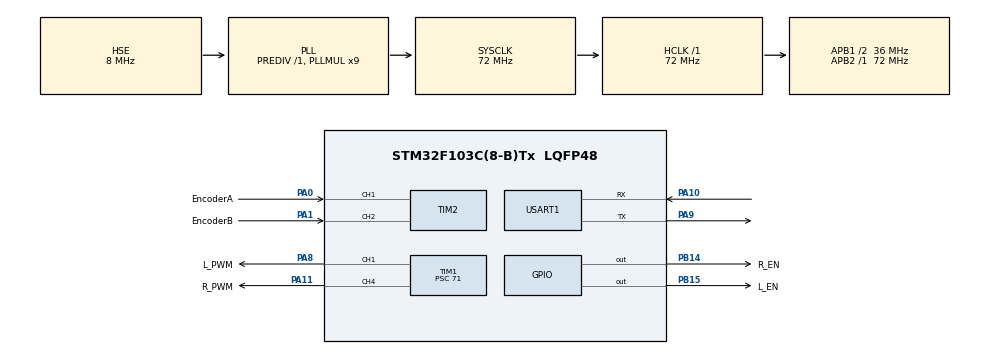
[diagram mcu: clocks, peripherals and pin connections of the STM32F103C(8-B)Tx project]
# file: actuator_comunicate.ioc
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Mcu.Family=STM32F1
Mcu.Name=STM32F103C(8-B)Tx
Mcu.Package=LQFP48
NVIC.PriorityGroup=NVIC_PRIORITYGROUP_4
NVIC.TIM3_IRQn=true\:0\:0\:false\:false\:true\:true\:true\:true
NVIC.TIM4_IRQn=true\:0\:0\:false\:false\:true\:true\:true\:true
PA0-WKUP.GPIO_Label=EncoderA
PA0-WKUP.Signal=S_TIM2_CH1_ETR
PA1.GPIO_Label=EncoderB
PA1.Signal=S_TIM2_CH2
PA10.Mode=Asynchronous
PA10.Signal=USART1_RX
PA11.GPIO_Label=R_PWM
PA11.Signal=S_TIM1_CH4
PA8.GPIO_Label=L_PWM
PA8.Signal=S_TIM1_CH1
PA9.Mode=Asynchronous
PA9.Signal=USART1_TX
PB14.GPIO_Label=R_EN
PB14.PinState=GPIO_PIN_SET
PB14.Signal=GPIO_Output
PB15.GPIO_Label=L_EN
PB15.PinState=GPIO_PIN_SET
PB15.Signal=GPIO_Output
PD0-OSC_IN.Mode=HSE-External-Oscillator
PD0-OSC_IN.Signal=RCC_OSC_IN
PD1-OSC_OUT.Mode=HSE-External-Oscillator
PD1-OSC_OUT.Signal=RCC_OSC_OUT
ProjectManager.HeapSize=0x200
ProjectManager.StackSize=0x400
ProjectManager.TargetToolchain=STM32CubeIDE
RCC.AHBFreq_Value=72000000
RCC.APB1CLKDivider=RCC_HCLK_DIV2
RCC.APB1Freq_Value=36000000
RCC.APB1TimFreq_Value=72000000
RCC.APB2Freq_Value=72000000
RCC.APB2TimFreq_Value=72000000
RCC.HCLKFreq_Value=72000000
RCC.PLLMUL=RCC_PLL_MUL9
RCC.PLLSourceVirtual=RCC_PLLSOURCE_HSE
RCC.SYSCLKFreq_VALUE=72000000
RCC.SYSCLKSource=RCC_SYSCLKSOURCE_PLLCLK
RCC.USBFreq_Value=72000000
SH.S_TIM1_CH1.0=TIM1_CH1,PWM Generation1 CH1
SH.S_TIM1_CH4.0=TIM1_CH4,PWM Generation4 CH4
SH.S_TIM2_CH1_ETR.0=TIM2_CH1,Encoder_Interface
SH.S_TIM2_CH2.0=TIM2_CH2,Encoder_Interface
TIM1.Channel-PWM\ Generation1\ CH1=TIM_CHANNEL_1
TIM1.Channel-PWM\ Generation4\ CH4=TIM_CHANNEL_4
TIM1.Period=99
TIM1.Prescaler=71
TIM1.Pulse-PWM\ Generation1\ CH1=50
TIM1.Pulse-PWM\ Generation4\ CH4=50
TIM2.CounterMode=TIM_COUNTERMODE_UP
TIM2.EncoderMode=TIM_ENCODERMODE_TI12
TIM3.Period=999
TIM3.Prescaler=7199
TIM4.Period=19999
TIM4.Prescaler=7199
USART1.VirtualMode=VM_ASYNC
VP_SYS_VS_ND.Mode=No_Debug
VP_TIM1_VS_ClockSourceINT.Mode=Internal
VP_TIM3_VS_ClockSourceINT.Mode=Internal
VP_TIM4_VS_ClockSourceINT.Mode=Internal
board=custom

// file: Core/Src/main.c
/* USER CODE BEGIN Header */
/**
  ******************************************************************************
  * @file           : main.c
  * @brief          : Main program body
  ******************************************************************************
  * @attention
  *
  * Copyright (c) 2024 STMicroelectronics.
  * All rights reserved.
  *
  * This software is licensed under terms that can be found in the LICENSE file
  * in the root directory of this software component.
  * If no LICENSE file comes with this software, it is provided AS-IS.
  *
  ******************************************************************************
  */
/* USER CODE END Header */
#include "main.h"

/* USER CODE BEGIN Includes */
#include "string.h"
#include "stdio.h"
/* USER CODE END Includes */

/* USER CODE BEGIN PD */
#define PULSE_PER_ROUND 10582
#define TIME_SAMPLE 0.1
/* USER CODE END PD */

TIM_HandleTypeDef htim1;
TIM_HandleTypeDef htim2;
TIM_HandleTypeDef htim3;
TIM_HandleTypeDef htim4;

UART_HandleTypeDef huart1;

/* USER CODE BEGIN PV */
const float Kp = 1.5;
const float Ki = 0.5;
const float Kd = 0.05;
const int target_RPM[] = {0, 10, 20, 30, 40};
static int current_RPM = 0;
static int sum_error = 0;
static int old_error = 0;
static int state_RPM = 1;
char text_data[20];
/* USER CODE END PV */

void SystemClock_Config(void);
static void MX_GPIO_Init(void);
static void MX_TIM1_Init(void);
static void MX_TIM2_Init(void);
static void MX_USART1_UART_Init(void);
static void MX_TIM3_Init(void);
static void MX_TIM4_Init(void);

/* USER CODE BEGIN 0 */
void HAL_TIM_PeriodElapsedCallback(TIM_HandleTypeDef *htim)
{
	 if(htim->Instance == htim3.Instance)
	 {
		 uint16_t encoder_data = __HAL_TIM_GET_COUNTER(&htim2);
		 __HAL_TIM_SET_COUNTER(&htim2, 0);
		 current_RPM = (int)encoder_data*600/ PULSE_PER_ROUND;
		sprintf(text_data, "\n\rRPM: %d", current_RPM);
		HAL_UART_Transmit(&huart1, (uint8_t*)text_data, sizeof(text_data), 100);
		int error = target_RPM[state_RPM] - current_RPM;
		float Pout = Kp * error;
		float Dout = Kd * (error - old_error) / TIME_SAMPLE;
		sum_error+=error;
		float Iout = Ki * sum_error * TIME_SAMPLE;
		__HAL_TIM_SET_COMPARE(&htim1, TIM_CHANNEL_4, (int)(Pout + Dout + Iout));
		old_error = error;
	  }
	 if(htim->Instance == htim4.Instance)
	 {
		 state_RPM+=1;
		 if(state_RPM == 5)
		 {
		 	state_RPM = 0;
		 }
	 }
}
/* USER CODE END 0 */

int main(void)
{

  /* MCU Configuration--------------------------------------------------------*/

  /* Reset of all peripherals, Initializes the Flash interface and the Systick. */
  HAL_Init();

  /* Configure the system clock */
  SystemClock_Config();

  /* Initialize all configured peripherals */
  MX_GPIO_Init();
  MX_TIM1_Init();
  MX_TIM2_Init();
  MX_USART1_UART_Init();
  MX_TIM3_Init();
  MX_TIM4_Init();
  /* USER CODE BEGIN 2 */
//  char text_data[20];
  HAL_TIM_Encoder_Start(&htim2, TIM_CHANNEL_ALL);
  HAL_TIM_PWM_Start(&htim1, TIM_CHANNEL_4);
  HAL_TIM_Base_Start_IT(&htim3);
  HAL_TIM_Base_Start_IT(&htim4);
  /* USER CODE END 2 */

  /* Infinite loop */
  while (1)
  {

  }
}

void SystemClock_Config(void)
{
  RCC_OscInitTypeDef RCC_OscInitStruct = {0};
  RCC_ClkInitTypeDef RCC_ClkInitStruct = {0};

  /** Initializes the RCC Oscillators according to the specified parameters
  * in the RCC_OscInitTypeDef structure.
  */
  RCC_OscInitStruct.OscillatorType = RCC_OSCILLATORTYPE_HSE;
  RCC_OscInitStruct.HSEState = RCC_HSE_ON;
  RCC_OscInitStruct.HSEPredivValue = RCC_HSE_PREDIV_DIV1;
  RCC_OscInitStruct.HSIState = RCC_HSI_ON;
  RCC_OscInitStruct.PLL.PLLState = RCC_PLL_ON;
  RCC_OscInitStruct.PLL.PLLSource = RCC_PLLSOURCE_HSE;
  RCC_OscInitStruct.PLL.PLLMUL = RCC_PLL_MUL9;
  if (HAL_RCC_OscConfig(&RCC_OscInitStruct) != HAL_OK)
  {
    Error_Handler();
  }

  /** Initializes the CPU, AHB and APB buses clocks
  */
  RCC_ClkInitStruct.ClockType = RCC_CLOCKTYPE_HCLK|RCC_CLOCKTYPE_SYSCLK
                              |RCC_CLOCKTYPE_PCLK1|RCC_CLOCKTYPE_PCLK2;
  RCC_ClkInitStruct.SYSCLKSource = RCC_SYSCLKSOURCE_PLLCLK;
  RCC_ClkInitStruct.AHBCLKDivider = RCC_SYSCLK_DIV1;
  RCC_ClkInitStruct.APB1CLKDivider = RCC_HCLK_DIV2;
  RCC_ClkInitStruct.APB2CLKDivider = RCC_HCLK_DIV1;

  if (HAL_RCC_ClockConfig(&RCC_ClkInitStruct, FLASH_LATENCY_2) != HAL_OK)
  {
    Error_Handler();
  }
}

static void MX_TIM1_Init(void)
{

  TIM_ClockConfigTypeDef sClockSourceConfig = {0};
  TIM_MasterConfigTypeDef sMasterConfig = {0};
  TIM_OC_InitTypeDef sConfigOC = {0};
  TIM_BreakDeadTimeConfigTypeDef sBreakDeadTimeConfig = {0};

  htim1.Instance = TIM1;
  htim1.Init.Prescaler = 71;
  htim1.Init.CounterMode = TIM_COUNTERMODE_UP;
  htim1.Init.Period = 99;
  htim1.Init.ClockDivision = TIM_CLOCKDIVISION_DIV1;
  htim1.Init.RepetitionCounter = 0;
  htim1.Init.AutoReloadPreload = TIM_AUTORELOAD_PRELOAD_DISABLE;
  if (HAL_TIM_Base_Init(&htim1) != HAL_OK)
  {
    Error_Handler();
  }
  sClockSourceConfig.ClockSource = TIM_CLOCKSOURCE_INTERNAL;
  if (HAL_TIM_ConfigClockSource(&htim1, &sClockSourceConfig) != HAL_OK)
  {
    Error_Handler();
  }
  if (HAL_TIM_PWM_Init(&htim1) != HAL_OK)
  {
    Error_Handler();
  }
  sMasterConfig.MasterOutputTrigger = TIM_TRGO_RESET;
  sMasterConfig.MasterSlaveMode = TIM_MASTERSLAVEMODE_DISABLE;
  if (HAL_TIMEx_MasterConfigSynchronization(&htim1, &sMasterConfig) != HAL_OK)
  {
    Error_Handler();
  }
  sConfigOC.OCMode = TIM_OCMODE_PWM1;
  sConfigOC.Pulse = 50;
  sConfigOC.OCPolarity = TIM_OCPOLARITY_HIGH;
  sConfigOC.OCNPolarity = TIM_OCNPOLARITY_HIGH;
  sConfigOC.OCFastMode = TIM_OCFAST_DISABLE;
  sConfigOC.OCIdleState = TIM_OCIDLESTATE_RESET;
  sConfigOC.OCNIdleState = TIM_OCNIDLESTATE_RESET;
  if (HAL_TIM_PWM_ConfigChannel(&htim1, &sConfigOC, TIM_CHANNEL_1) != HAL_OK)
  {
    Error_Handler();
  }
  if (HAL_TIM_PWM_ConfigChannel(&htim1, &sConfigOC, TIM_CHANNEL_4) != HAL_OK)
  {
    Error_Handler();
  }
  sBreakDeadTimeConfig.OffStateRunMode = TIM_OSSR_DISABLE;
  sBreakDeadTimeConfig.OffStateIDLEMode = TIM_OSSI_DISABLE;
  sBreakDeadTimeConfig.LockLevel = TIM_LOCKLEVEL_OFF;
  sBreakDeadTimeConfig.DeadTime = 0;
  sBreakDeadTimeConfig.BreakState = TIM_BREAK_DISABLE;
  sBreakDeadTimeConfig.BreakPolarity = TIM_BREAKPOLARITY_HIGH;
  sBreakDeadTimeConfig.AutomaticOutput = TIM_AUTOMATICOUTPUT_DISABLE;
  if (HAL_TIMEx_ConfigBreakDeadTime(&htim1, &sBreakDeadTimeConfig) != HAL_OK)
  {
    Error_Handler();
  }
  HAL_TIM_MspPostInit(&htim1);

}

static void MX_TIM2_Init(void)
{

  TIM_Encoder_InitTypeDef sConfig = {0};
  TIM_MasterConfigTypeDef sMasterConfig = {0};

  htim2.Instance = TIM2;
  htim2.Init.Prescaler = 0;
  htim2.Init.CounterMode = TIM_COUNTERMODE_UP;
  htim2.Init.Period = 65535;
  htim2.Init.ClockDivision = TIM_CLOCKDIVISION_DIV1;
  htim2.Init.AutoReloadPreload = TIM_AUTORELOAD_PRELOAD_DISABLE;
  sConfig.EncoderMode = TIM_ENCODERMODE_TI12;
  sConfig.IC1Polarity = TIM_ICPOLARITY_RISING;
  sConfig.IC1Selection = TIM_ICSELECTION_DIRECTTI;
  sConfig.IC1Prescaler = TIM_ICPSC_DIV1;
  sConfig.IC1Filter = 0;
  sConfig.IC2Polarity = TIM_ICPOLARITY_RISING;
  sConfig.IC2Selection = TIM_ICSELECTION_DIRECTTI;
  sConfig.IC2Prescaler = TIM_ICPSC_DIV1;
  sConfig.IC2Filter = 0;
  if (HAL_TIM_Encoder_Init(&htim2, &sConfig) != HAL_OK)
  {
    Error_Handler();
  }
  sMasterConfig.MasterOutputTrigger = TIM_TRGO_RESET;
  sMasterConfig.MasterSlaveMode = TIM_MASTERSLAVEMODE_DISABLE;
  if (HAL_TIMEx_MasterConfigSynchronization(&htim2, &sMasterConfig) != HAL_OK)
  {
    Error_Handler();
  }

}

static void MX_TIM3_Init(void)
{

  TIM_ClockConfigTypeDef sClockSourceConfig = {0};
  TIM_MasterConfigTypeDef sMasterConfig = {0};

  htim3.Instance = TIM3;
  htim3.Init.Prescaler = 7199;
  htim3.Init.CounterMode = TIM_COUNTERMODE_UP;
  htim3.Init.Period = 999;
  htim3.Init.ClockDivision = TIM_CLOCKDIVISION_DIV1;
  htim3.Init.AutoReloadPreload = TIM_AUTORELOAD_PRELOAD_DISABLE;
  if (HAL_TIM_Base_Init(&htim3) != HAL_OK)
  {
    Error_Handler();
  }
  sClockSourceConfig.ClockSource = TIM_CLOCKSOURCE_INTERNAL;
  if (HAL_TIM_ConfigClockSource(&htim3, &sClockSourceConfig) != HAL_OK)
  {
    Error_Handler();
  }
  sMasterConfig.MasterOutputTrigger = TIM_TRGO_RESET;
  sMasterConfig.MasterSlaveMode = TIM_MASTERSLAVEMODE_DISABLE;
  if (HAL_TIMEx_MasterConfigSynchronization(&htim3, &sMasterConfig) != HAL_OK)
  {
    Error_Handler();
  }

}

static void MX_TIM4_Init(void)
{

  TIM_ClockConfigTypeDef sClockSourceConfig = {0};
  TIM_MasterConfigTypeDef sMasterConfig = {0};

  htim4.Instance = TIM4;
  htim4.Init.Prescaler = 7199;
  htim4.Init.CounterMode = TIM_COUNTERMODE_UP;
  htim4.Init.Period = 19999;
  htim4.Init.ClockDivision = TIM_CLOCKDIVISION_DIV1;
  htim4.Init.AutoReloadPreload = TIM_AUTORELOAD_PRELOAD_DISABLE;
  if (HAL_TIM_Base_Init(&htim4) != HAL_OK)
  {
    Error_Handler();
  }
  sClockSourceConfig.ClockSource = TIM_CLOCKSOURCE_INTERNAL;
  if (HAL_TIM_ConfigClockSource(&htim4, &sClockSourceConfig) != HAL_OK)
  {
    Error_Handler();
  }
  sMasterConfig.MasterOutputTrigger = TIM_TRGO_RESET;
  sMasterConfig.MasterSlaveMode = TIM_MASTERSLAVEMODE_DISABLE;
  if (HAL_TIMEx_MasterConfigSynchronization(&htim4, &sMasterConfig) != HAL_OK)
  {
    Error_Handler();
  }

}

static void MX_USART1_UART_Init(void)
{

  huart1.Instance = USART1;
  huart1.Init.BaudRate = 115200;
  huart1.Init.WordLength = UART_WORDLENGTH_8B;
  huart1.Init.StopBits = UART_STOPBITS_1;
  huart1.Init.Parity = UART_PARITY_NONE;
  huart1.Init.Mode = UART_MODE_TX_RX;
  huart1.Init.HwFlowCtl = UART_HWCONTROL_NONE;
  huart1.Init.OverSampling = UART_OVERSAMPLING_16;
  if (HAL_UART_Init(&huart1) != HAL_OK)
  {
    Error_Handler();
  }

}

static void MX_GPIO_Init(void)
{
  GPIO_InitTypeDef GPIO_InitStruct = {0};

  /* GPIO Ports Clock Enable */
  __HAL_RCC_GPIOD_CLK_ENABLE();
  __HAL_RCC_GPIOA_CLK_ENABLE();
  __HAL_RCC_GPIOB_CLK_ENABLE();

  /*Configure GPIO pin Output Level */
  HAL_GPIO_WritePin(GPIOB, R_EN_Pin|L_EN_Pin, GPIO_PIN_SET);

  /*Configure GPIO pins : R_EN_Pin L_EN_Pin */
  GPIO_InitStruct.Pin = R_EN_Pin|L_EN_Pin;
  GPIO_InitStruct.Mode = GPIO_MODE_OUTPUT_PP;
  GPIO_InitStruct.Pull = GPIO_NOPULL;
  GPIO_InitStruct.Speed = GPIO_SPEED_FREQ_LOW;
  HAL_GPIO_Init(GPIOB, &GPIO_InitStruct);

}

void Error_Handler(void)
{
  __disable_irq();
  while (1)
  {
  }
}
